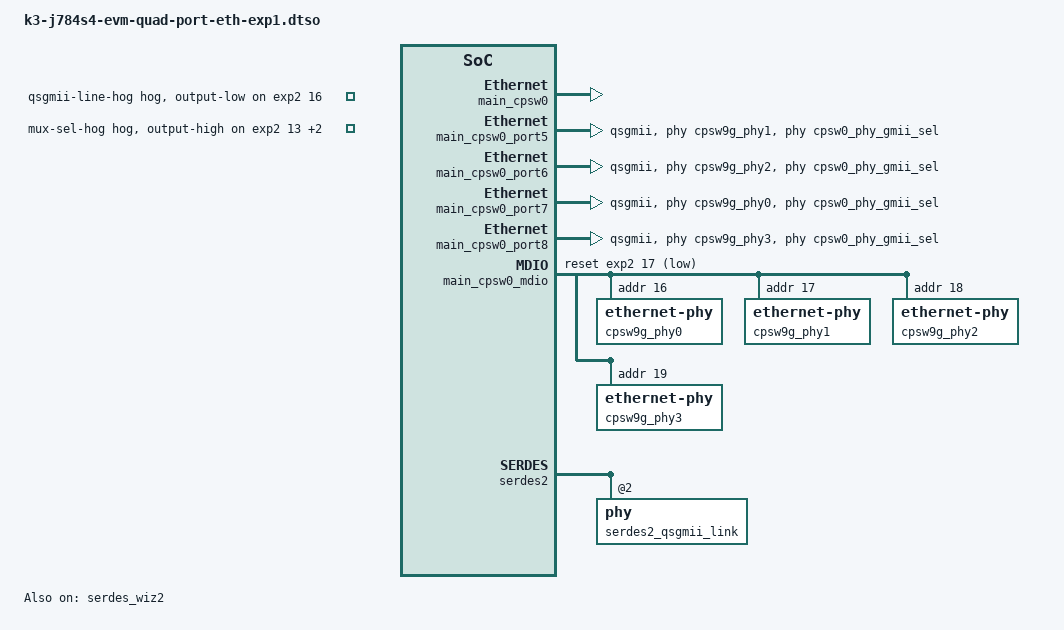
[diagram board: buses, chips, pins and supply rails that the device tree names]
// SPDX-License-Identifier: GPL-2.0
/**
 * DT Overlay for CPSW9G in QSGMII mode using J7 Quad Port ETH EXP Add-On Ethernet Card with
 * J7AHP board. The Add-On Ethernet Card has to be connected to ENET Expansion 1 slot on the
 * board.
 *
 * Product Datasheet: https://www.ti.com/lit/ug/spruj74/spruj74.pdf
 * Product Link: https://www.ti.com/tool/J721EXENETXPANEVM
 *
 * Copyright (C) 2023 Texas Instruments Incorporated - https://www.ti.com/
 */

/dts-v1/;
/plugin/;

#include <dt-bindings/gpio/gpio.h>
#include <dt-bindings/mux/ti-serdes.h>
#include <dt-bindings/phy/phy-cadence.h>
#include <dt-bindings/phy/phy.h>

#include "k3-pinctrl.h"

&{/} {
	aliases {
		ethernet1 = "/bus@100000/ethernet@c000000/ethernet-ports/port@5";
		ethernet2 = "/bus@100000/ethernet@c000000/ethernet-ports/port@6";
		ethernet3 = "/bus@100000/ethernet@c000000/ethernet-ports/port@7";
		ethernet4 = "/bus@100000/ethernet@c000000/ethernet-ports/port@8";
	};
};

&main_cpsw0 {
	status = "okay";
};

&main_cpsw0_port5 {
	status = "okay";
	phy-handle = <&cpsw9g_phy1>;
	phy-mode = "qsgmii";
	mac-address = [00 00 00 00 00 00];
	phys = <&cpsw0_phy_gmii_sel 5>, <&serdes2_qsgmii_link>;
	phy-names = "mac", "serdes";
};

&main_cpsw0_port6 {
	status = "okay";
	phy-handle = <&cpsw9g_phy2>;
	phy-mode = "qsgmii";
	mac-address = [00 00 00 00 00 00];
	phys = <&cpsw0_phy_gmii_sel 6>, <&serdes2_qsgmii_link>;
	phy-names = "mac", "serdes";
};

&main_cpsw0_port7 {
	status = "okay";
	phy-handle = <&cpsw9g_phy0>;
	phy-mode = "qsgmii";
	mac-address = [00 00 00 00 00 00];
	phys = <&cpsw0_phy_gmii_sel 7>, <&serdes2_qsgmii_link>;
	phy-names = "mac", "serdes";
};

&main_cpsw0_port8 {
	status = "okay";
	phy-handle = <&cpsw9g_phy3>;
	phy-mode = "qsgmii";
	mac-address = [00 00 00 00 00 00];
	phys = <&cpsw0_phy_gmii_sel 8>, <&serdes2_qsgmii_link>;
	phy-names = "mac", "serdes";
};

&main_cpsw0_mdio {
	status = "okay";
	pinctrl-names = "default";
	pinctrl-0 = <&mdio0_pins_default>;
	bus_freq = <1000000>;
	reset-gpios = <&exp2 17 GPIO_ACTIVE_LOW>;
	reset-post-delay-us = <120000>;
	#address-cells = <1>;
	#size-cells = <0>;

	cpsw9g_phy0: ethernet-phy@16 {
		reg = <16>;
	};
	cpsw9g_phy1: ethernet-phy@17 {
		reg = <17>;
	};
	cpsw9g_phy2: ethernet-phy@18 {
		reg = <18>;
	};
	cpsw9g_phy3: ethernet-phy@19 {
		reg = <19>;
	};
};

&exp2 {
	/* Power-up ENET1 EXPANDER PHY. */
	qsgmii-line-hog {
		gpio-hog;
		gpios = <16 GPIO_ACTIVE_HIGH>;
		output-low;
	};
	/* Toggle MUX2 for MDIO lines */
	mux-sel-hog {
		gpio-hog;
		gpios = <13 GPIO_ACTIVE_HIGH>, <14 GPIO_ACTIVE_HIGH>, <15 GPIO_ACTIVE_HIGH>;
		output-high;
	};
};

&main_pmx0 {
	mdio0_pins_default: mdio0-pins-default {
		pinctrl-single,pins = <
			J784S4_IOPAD(0x05c, PIN_INPUT, 4) /* (AC36) MCASP2_AXR0.MDIO1_MDIO */
			J784S4_IOPAD(0x058, PIN_INPUT, 4) /* (AE37) MCASP2_AFSX.MDIO1_MDC */
		>;
	};
};

&serdes_ln_ctrl {
	idle-states = <J784S4_SERDES0_LANE0_PCIE1_LANE0>, <J784S4_SERDES0_LANE1_PCIE1_LANE1>,
		      <J784S4_SERDES0_LANE2_IP3_UNUSED>, <J784S4_SERDES0_LANE3_USB>,
		      <J784S4_SERDES1_LANE0_PCIE0_LANE0>, <J784S4_SERDES1_LANE1_PCIE0_LANE1>,
		      <J784S4_SERDES1_LANE2_PCIE0_LANE2>, <J784S4_SERDES1_LANE3_PCIE0_LANE3>,
		      <J784S4_SERDES2_LANE0_QSGMII_LANE5>, <J784S4_SERDES2_LANE1_QSGMII_LANE6>,
		      <J784S4_SERDES2_LANE2_QSGMII_LANE7>, <J784S4_SERDES2_LANE3_QSGMII_LANE8>;
};

&serdes_wiz2 {
	status = "okay";
};

&serdes2 {
	status = "okay";
	#address-cells = <1>;
	#size-cells = <0>;

	serdes2_qsgmii_link: phy@0 {
		reg = <2>;
		cdns,num-lanes = <1>;
		#phy-cells = <0>;
		cdns,phy-type = <PHY_TYPE_QSGMII>;
		resets = <&serdes_wiz2 3>;
	};
};
